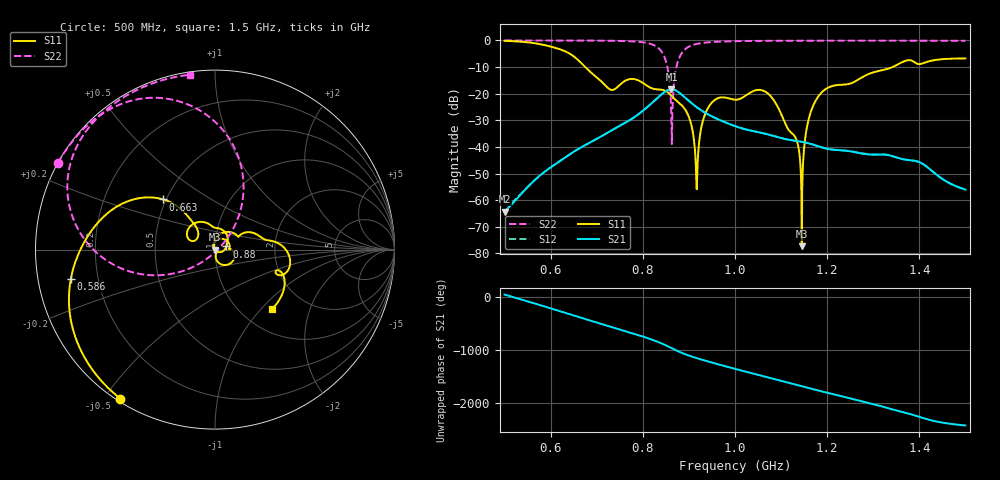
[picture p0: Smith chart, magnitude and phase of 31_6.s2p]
! TOUCHSTONE file generated by CST MICROWAVE STUDIO
! Date and time: Fri Oct  2 18:58:59 2020
! Project name: Scenario_1_Free_Space_out_of_line.cst
! Parameters = {Lambda=346.42; Step_1=17.321; dy1=-172.59; dx1=1039; L_HA=400; MT=2.54; Rad_Dielectric=30; Rad_Lower=7.3; Rad_Upper=30; a_HA=580; a_WG=246; b_HA=500; b_WG=121; c_HA=0; c_WG=187; d_feed=85; h_feed=15; h_lower=18; h_upper=40}
! Header version: 2018
! Port assignment regex: !\s*Touchstone port\s*([0-9]+)\s*=\s*(CST MWS port|CST DS port)\s*([0-9]+|Zmin|Zmax)\s*\(\"(.*)\"\)(\s*mode\s*([0-9]+))?.*
! Touchstone port assignment:
! Touchstone port 1 = CST MWS port 1 ("")
! Touchstone port 2 = CST MWS port 2 ("")
# GHz S DB R 50
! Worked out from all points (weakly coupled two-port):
!   1003 points, 500 MHz to 1.5 GHz, reference 50 ohm
!   highest |S21| = -18.34 dB at 862 MHz (marker M1); lowest = -64.3 dB at 500 MHz (marker M2)
!   lowest |S11| = -77.3 dB at 1.145 GHz (marker M3), VSWR 1.00, Z = 50 + j0.0134 ohm
!   |S11| at or under -10 dB: 675.1 MHz to 1.342 GHz (666.8 MHz wide, 66.1 % of centre)
!   |S22| runs from -38.9 to 0.0 dB; largest |S21 - S12| = 0.00014
!   S11 on the Smith chart (normalised r, x): 500 MHz: 0.01, -0.55; 586 MHz: 0.10, -0.10; 663 MHz: 0.48, +0.32; 880 MHz: 1.13, +0.04; 1.5 GHz: 1.37, -1.15
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0.5  -0.15 -122.4  -64.34 44.9  -64.34 44.9  -0.01 151.1
0.586  -1.72 -168.4  -49.46 -177.7  -49.47 -177.5  -0.02 145.2
0.663  -7.92 135.9  -40.47 -22.9  -40.47 -22.9  -0.04 138.8
0.667  -8.59 133.8  -40.08 -33.7  -40.08 -33.7  -0.04 138.4
0.73  -18.51 143.4  -34.00 161.5  -34.00 161.5  -0.12 131.0
0.834  -18.39 83.3  -21.25 -128.5  -21.25 -128.5  -2.89 90.4
0.851  -19.14 57.5  -18.91 167.1  -18.92 167.1  -8.39 65.3
0.862  -20.77 39.2  -18.34 120.1  -18.34 120.1  -29.95 26.1
0.88  -23.67 15.7  -19.78 46.2  -19.78 46.2  -6.14 -165.8
0.902  -29.79 -26.1  -23.04 -26.9  -23.04 -26.9  -2.15 170.6
0.917  -55.94 -157.1  -25.10 -69.1  -25.10 -69.1  -1.30 161.6
0.929  -31.09 103.9  -26.52 -100.4  -26.52 -100.4  -0.94 156.5
0.944  -24.65 72.6  -28.02 -137.7  -28.02 -137.7  -0.67 151.7
1  -22.28 3.3  -32.19 89.9  -32.19 89.9  -0.28 140.8
1.077  -20.87 -66.2  -35.57 -85.5  -35.57 -85.5  -0.15 132.1
1.132  -36.75 -50.2  -37.74 153.0  -37.74 153.0  -0.11 127.2
1.145  -77.30 100.1  -38.09 123.4  -38.09 123.4  -0.11 126.2
1.155  -33.65 108.7  -38.43 100.2  -38.44 100.2  -0.10 125.4
1.167  -25.63 91.8  -38.99 72.5  -38.99 72.5  -0.10 124.4
1.202  -17.75 49.0  -40.77 -2.0  -40.76 -2.0  -0.09 121.7
1.334  -10.54 10.2  -43.12 67.4  -43.11 67.6  -0.09 111.7
1.5  -6.76 -46.2  -56.02 107.2  -56.02 107.2  -0.14 98.2
